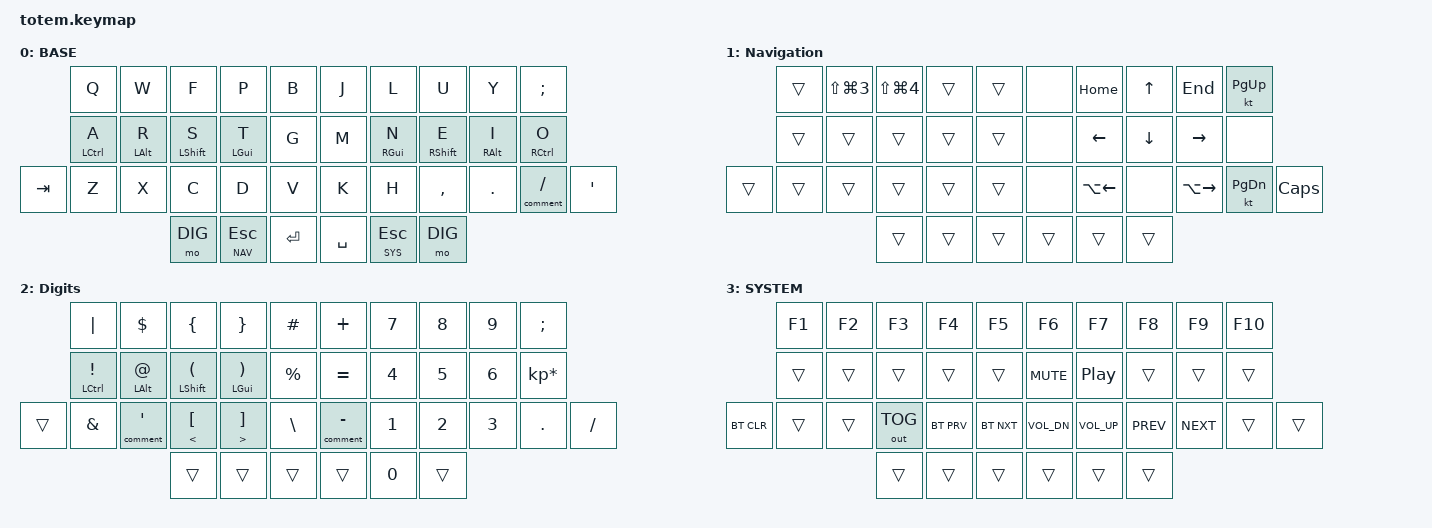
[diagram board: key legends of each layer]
//
//                                                        ▀▀▀▀▀     ▀▀▀▀▀          ▀▀█▀▀
//                                                        ▄▀▀▀▄  ▄  ▄▀▀▀▄  ▄  ▄▀▀▀▄  █  ▄▀▀▀▄
//                                                        █   █  █  █   █  █  █   █  █  █   █
//                                                         ▀▀▀   █   ▀▀▀   █   ▀▀▀   ▀   ▀▀▀
//                                                               █      ▄▄▄█▄▄▄    █   █
//                                                               ▀      █  █  █     █▄█
//                                                             ▀▀▀▀▀    █  █  █      ▀
//                                                                      ▀  ▀  ▀
//
// ▄▄▄▄▄▄▄▄▄▄▄▄▄▄▄▄▄▄▄▄▄▄▄▄▄▄▄▄▄▄▄▄▄▄▄▄▄▄▄▄▄▄▄▄▄▄▄▄▄▄▄▄▄▄▄▄▄▄▄▄▄▄▄▄▄▄▄▄▄▄▄▄▄▄▄▄▄▄▄▄▄▄▄▄▄▄▄▄▄▄▄▄▄▄▄▄▄▄▄▄▄▄▄▄▄▄▄▄▄▄▄▄▄▄▄▄▄▄▄▄▄▄▄▄▄▄▄▄▄▄▄▄▄▄▄▄▄▄▄▄▄▄▄▄▄▄▄▄▄

#include "zmk-helpers/helper.h"
#include "zmk-helpers/key-labels/totem.h"
#include <behaviors.dtsi>
#include <dt-bindings/zmk/bt.h>
#include <dt-bindings/zmk/keys.h>
#include <dt-bindings/zmk/outputs.h>

#define BASE 0
#define NAV  1
#define DIG  2
#define SYS  3
#define QUICK_TAP_MS 175

/* Timeless homerow mods */
// https://github.com/urob/zmk-config/tree/main#timeless-homerow-mods

#define KEYS_L LT0 LT1 LT2 LT3 LT4 LM0 LM1 LM2 LM3 LM4 LB0 LB1 LB2 LB3 LB4 LB5  // left hand
#define KEYS_R RT0 RT1 RT2 RT3 RT4 RM0 RM1 RM2 RM3 RM4 RB0 RB1 RB2 RB3 RB4 RB5  // right hand
#define THUMBS LH2 LH1 LH0 RH0 RH1 RH2 // thumb cluster for both hands

// proper urob's home row, uncomment it if you are not going to use visual editor
//#define MAKE_HRM(NAME, HOLD, TAP, TRIGGER_POS) \
//    ZMK_HOLD_TAP(NAME, \
//        flavor = "balanced"; \
//        tapping-term-ms = <280>; \
//        quick-tap-ms = <QUICK_TAP_MS>; \
//        require-prior-idle-ms = <150>; \
//        bindings = <HOLD>, <TAP>; \
//        hold-trigger-key-positions = <TRIGGER_POS>; \
//        hold-trigger-on-release; \
//    )
//
//MAKE_HRM(hml, &kp, &kp, KEYS_R THUMBS)  // left-hand HRMs
//MAKE_HRM(hmr, &kp, &kp, KEYS_L THUMBS)  // right-hand HRMs
//MAKE_HRM(hml_layer, &mo, &kp, KEYS_R THUMBS) // switch layer like HRM

&mt {
    quick-tap-ms = <100>;
    global-quick-tap;
    flavor = "tap-preferred";
    tapping-term-ms = <170>;
};

/ {
    combos {
        compatible = "zmk,combos";

        backspace {
            bindings = <&kp BACKSPACE>;
            key-positions = <16 17>;
            timeout-ms = <70>;
        };

        opt_backspace {
            bindings = <&kp LA(BACKSPACE)>;
            key-positions = <16 17 18>;
            timeout-ms = <70>;
        };

        shift {
            bindings = <&sk LEFT_SHIFT>;
            key-positions = <13 12>;
            timeout-ms = <100>;
        };

        to_digits_layer {
            bindings = <&to 3>;
            key-positions = <32 37>;
        };

        caps-words {
            bindings = <&caps_word>;
            key-positions = <11 12 13>;
        };

        umlaut_ae {
            bindings = <&umlaut_ae>;
            key-positions = <10 2>;
        };
    };

    macros {
        /**
         * Temporarily switches to a layer (`&mo`) while a modifier is held.
         * Analogous to QMK's `LM()`, using a parameterized macro.
         *
         * Params:
         *  1. Layer to switch to
         *  2. Modifier to press while layer is active
         *
         * Example:
         *  `&lm NUM_LAYER LSHIFT`
         */

        lm: lm {
            compatible = "zmk,behavior-macro-two-param";
            wait-ms = <0>;
            tap-ms = <0>;
            #binding-cells = <2>;
            bindings =
                <&macro_param_1to1>,
                <&macro_press>,
                <&mo MACRO_PLACEHOLDER &macro_param_2to1>,
                <&macro_press>,
                <&kp MACRO_PLACEHOLDER>,
                <&macro_pause_for_release>,
                <&macro_param_2to1>,
                <&macro_release>,
                <&kp MACRO_PLACEHOLDER &macro_param_1to1>,
                <&macro_release>,
                <&mo MACRO_PLACEHOLDER>;
        };

        press_two_keys: press_two_keys {
            compatible = "zmk,behavior-macro-two-param";
            wait-ms = <0>;
            tap-ms = <0>;
            #binding-cells = <2>;
            bindings =
                <&macro_param_1to1>,
                <&macro_tap>,
                <&kp MACRO_PLACEHOLDER &macro_param_2to1>,
                <&macro_tap>,
                <&kp MACRO_PLACEHOLDER>;
        };

        more_or_equal: more_or_equal {
            compatible = "zmk,behavior-macro";
            #binding-cells = <0>;
            bindings = <&kp MINUS &kp GT>;
            label = "MORE_OR_EQUAL";
        };

        less_or_equal: less_or_equal {
            compatible = "zmk,behavior-macro";
            #binding-cells = <0>;
            bindings = <&kp LT &kp EQUAL>;
            label = "LESS_OR_EQUAL";
        };

        fun_arrow_right: fun_arrow_right {
            compatible = "zmk,behavior-macro";
            #binding-cells = <0>;
            bindings = <&kp MINUS &kp GT>;
            label = "FUN_ARROW_RIGHT";
        };

        comment: comment {
            compatible = "zmk,behavior-macro";
            #binding-cells = <0>;
            bindings = <&kp FSLH &kp STAR>;
            label = "MACROS_COMMENT";
        };

        umlaut_ae: umlaut_ae {
            compatible = "zmk,behavior-macro";
            #binding-cells = <0>;
            bindings = <&sk LEFT_ALT &kp KP_NUMBER_1 &sk LEFT_ALT &kp KP_NUMBER_2 &sk KP_NUMBER_9>;
            label = "UMLAUT_AE";
        };
    };

    behaviors {
        // this is homerow mod that works identical to urob's one, but this one allows visual editor to understand

        hml: hml {
            compatible = "zmk,behavior-hold-tap";
            label = "HML";
            bindings = <&kp>, <&kp>;

            #binding-cells = <2>;
            tapping-term-ms = <280>;
            quick-tap-ms = <175>;
            require-prior-idle-ms = <150>;
            flavor = "balanced";
            hold-trigger-key-positions = <KEYS_R THUMBS>;
            hold-trigger-on-release;
        };

        hmr: hmr {
            compatible = "zmk,behavior-hold-tap";
            label = "HMR";
            bindings = <&kp>, <&kp>;

            #binding-cells = <2>;
            tapping-term-ms = <280>;
            quick-tap-ms = <175>;
            require-prior-idle-ms = <150>;
            flavor = "balanced";
            hold-trigger-key-positions = <KEYS_L THUMBS>;
            hold-trigger-on-release;
        };

        comment_or: comment_or {
            compatible = "zmk,behavior-hold-tap";
            label = "slash_or_comm";
            bindings = <&comment>, <&kp>;

            #binding-cells = <2>;
            tapping-term-ms = <200>;
            flavor = "tap-preferred";
        };
    };

    keymap {
        compatible = "zmk,keymap";

        ColemakDH {
            label = "BASE";
            bindings = <
         &kp Q         &kp W        &kp F         &kp P            &kp B         &kp J      &kp L             &kp U               &kp Y             &kp SEMICOLON
         &hml LCTRL A  &hml LALT R  &hml LSHFT S  &hml LEFT_GUI T  &kp G         &kp M      &hmr RIGHT_GUI N  &hmr RIGHT_SHIFT E  &hmr RIGHT_ALT I  &hmr RCTRL O
&kp TAB  &kp Z         &kp X        &kp C         &kp D            &kp V         &kp K      &kp H             &kp COMMA           &kp DOT           &comment_or 0 SLASH  &kp SQT
                                    &mo DIG       &lt NAV ESC      &kp RETURN    &kp SPACE  &lt SYS ESC       &mo DIG
            >;
        };

        Navigation {
            label = "Navigation";
            bindings = <
        &trans  &kp LS(LG(NUMBER_3))  &kp LS(LG(NUMBER_4))  &trans  &trans    &none   &kp HOME      &kp UP    &kp END        &kt PAGE_UP
        &trans  &trans                &trans                &trans  &trans    &none   &kp LEFT      &kp DOWN  &kp RIGHT      &none
&trans  &trans  &trans                &trans                &trans  &trans    &none   &kp LA(LEFT)  &none     &kp LA(RIGHT)  &kt PAGE_DOWN  &kp CAPSLOCK
                                      &trans                &trans  &trans    &trans  &trans        &trans
            >;
        };

        digits {
            label = "Digits";
            bindings = <
        &kp PIPE                &kp DOLLAR             &kp LEFT_BRACE               &kp RIGHT_BRACE                  &kp HASH         &kp PLUS             &kp N7  &kp N8        &kp N9        &kp SEMICOLON
        &hml LCTRL EXCLAMATION  &hml LEFT_ALT AT_SIGN  &hml LSHFT LEFT_PARENTHESIS  &hml LEFT_GUI RIGHT_PARENTHESIS  &kp PERCENT      &kp EQUAL            &kp N4  &kp NUMBER_5  &kp NUMBER_6  &kp KP_MULTIPLY
&trans  &kp AMPERSAND           &comment_or 0 SQT      &mt LESS_THAN LEFT_BRACKET   &mt GREATER_THAN RIGHT_BRACKET   &kp BACKSLASH    &comment_or 0 MINUS  &kp N1  &kp N2        &kp N3        &kp PERIOD       &kp SLASH
                                                       &trans                       &trans                           &trans           &trans               &kp N0  &trans
            >;
        };

        sim_layer {
            label = "SYSTEM";
            bindings = <
            &kp F1  &kp F2  &kp F3        &kp F4      &kp F5        &kp F6        &kp F7        &kp F8      &kp F9      &kp F10
            &trans  &trans  &trans        &trans      &trans        &kp C_MUTE    &kp C_PP      &trans      &trans      &trans
&bt BT_CLR  &trans  &trans  &out OUT_TOG  &bt BT_PRV  &bt BT_NXT    &kp C_VOL_DN  &kp C_VOL_UP  &kp C_PREV  &kp C_NEXT  &trans   &trans
                            &trans        &trans      &trans        &trans        &trans        &trans
            >;
        };
    };
};
